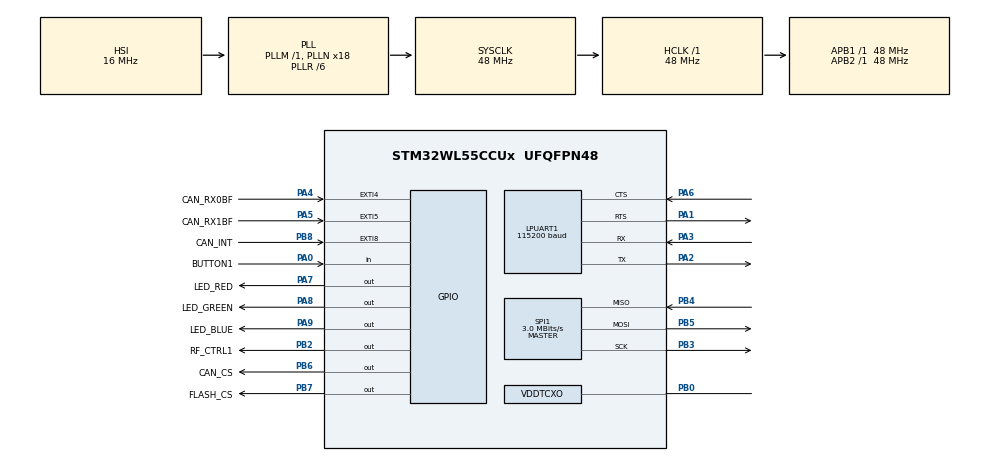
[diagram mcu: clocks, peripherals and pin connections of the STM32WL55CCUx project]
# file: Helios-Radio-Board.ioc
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FREERTOS.Tasks01=defaultTask,24,128,StartDefaultTask,Default,NULL,Dynamic,NULL,NULL
FREERTOS.configTOTAL_HEAP_SIZE=20480
FREERTOS.configUSE_NEWLIB_REENTRANT=1
LPUART1.BaudRate=115200
LPUART1.ClockPrescaler=UART_PRESCALER_DIV4
Mcu.Family=STM32WL
Mcu.Name=STM32WL55CCUx
Mcu.Package=UFQFPN48
NVIC.EXTI4_IRQn=true\:5\:0\:false\:false\:true\:true\:true\:true\:true
NVIC.EXTI9_5_IRQn=true\:5\:0\:false\:false\:true\:true\:true\:true\:true
NVIC.LPUART1_IRQn=true\:5\:0\:false\:false\:true\:true\:true\:true\:true
NVIC.PriorityGroup=NVIC_PRIORITYGROUP_4
NVIC.SUBGHZ_Radio_IRQn=true\:5\:0\:false\:false\:true\:true\:true\:true\:true
NVIC.TIM2_IRQn=true\:15\:0\:false\:false\:true\:false\:false\:true\:true
NVIC.TimeBase=TIM2_IRQn
NVIC.TimeBaseIP=TIM2
OSC_IN.Mode=HSE-TCXO
OSC_IN.Signal=RCC_OSC_IN
PA0.GPIO_Label=BUTTON1
PA0.GPIO_PuPd=GPIO_NOPULL
PA0.Signal=GPIO_Input
PA1.Mode=CTS_RTS
PA1.Signal=LPUART1_RTS
PA13.Mode=Serial_Wire
PA13.Signal=DEBUG_JTMS-SWDIO
PA14.Mode=Serial_Wire
PA14.Signal=DEBUG_JTCK-SWCLK
PA2.Mode=Asynchronous
PA2.Signal=LPUART1_TX
PA3.Mode=Asynchronous
PA3.Signal=LPUART1_RX
PA4.GPIO_Label=CAN_RX0BF
PA4.GPIO_ModeDefaultEXTI=GPIO_MODE_IT_FALLING
PA4.Signal=GPXTI4
PA5.GPIO_Label=CAN_RX1BF
PA5.GPIO_ModeDefaultEXTI=GPIO_MODE_IT_FALLING
PA5.Signal=GPXTI5
PA6.Mode=CTS_RTS
PA6.Signal=LPUART1_CTS
PA7.GPIO_Label=LED_RED
PA7.Signal=GPIO_Output
PA8.GPIO_Label=LED_GREEN
PA8.Signal=GPIO_Output
PA9.GPIO_Label=LED_BLUE
PA9.Signal=GPIO_Output
PB0-VDD_TCXO.Mode=HSE-TCXO
PB0-VDD_TCXO.Signal=VDDTCXO
PB2.GPIO_Label=RF_CTRL1
PB2.Signal=GPIO_Output
PB3.Mode=Full_Duplex_Master
PB3.Signal=SPI1_SCK
PB4.Mode=Full_Duplex_Master
PB4.Signal=SPI1_MISO
PB5.Mode=Full_Duplex_Master
PB5.Signal=SPI1_MOSI
PB6.GPIO_Label=CAN_CS
PB6.PinState=GPIO_PIN_SET
PB6.Signal=GPIO_Output
PB7.GPIO_Label=FLASH_CS
PB7.PinState=GPIO_PIN_SET
PB7.Signal=GPIO_Output
PB8.GPIO_Label=CAN_INT
PB8.GPIO_ModeDefaultEXTI=GPIO_MODE_IT_FALLING
PB8.Signal=GPXTI8
ProjectManager.HeapSize=0x200
ProjectManager.StackSize=0x400
ProjectManager.TargetToolchain=STM32CubeIDE
RCC.AHBFreq_Value=48000000
RCC.APB1Freq_Value=48000000
RCC.APB1TimFreq_Value=48000000
RCC.APB2Freq_Value=48000000
RCC.APB2TimFreq_Value=48000000
RCC.APB3Freq_Value=48000000
RCC.CortexFreq_Value=48000000
RCC.HCLKFreq_Value=48000000
RCC.HSE_VALUE=32000000
RCC.HSI_VALUE=16000000
RCC.LSE_VALUE=32768
RCC.PLLN=18
RCC.PLLR=RCC_PLLR_DIV6
RCC.PLLSourceVirtual=RCC_PLLSOURCE_HSI
RCC.SYSCLKFreq_VALUE=48000000
RCC.SYSCLKSource=RCC_SYSCLKSOURCE_PLLCLK
RCC.VCOOutputFreq_Value=288000000
SPI1.BaudRatePrescaler=SPI_BAUDRATEPRESCALER_16
SPI1.CLKPhase=SPI_PHASE_2EDGE
SPI1.CLKPolarity=SPI_POLARITY_HIGH
SPI1.CalculateBaudRate=3.0 MBits/s
SPI1.DataSize=SPI_DATASIZE_8BIT
SPI1.Direction=SPI_DIRECTION_2LINES
SPI1.Mode=SPI_MODE_MASTER
SPI1.VirtualType=VM_MASTER
SUBGHZ.BaudratePrescaler=SUBGHZSPI_BAUDRATEPRESCALER_4
VP_FREERTOS_VS_CMSIS_V2.Mode=CMSIS_V2
VP_SUBGHZ_VS_SUBGHZ.Mode=SUBGHZ_Activate
VP_SYS_VS_tim2.Mode=TIM2
board=custom

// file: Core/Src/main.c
/* USER CODE BEGIN Header */
/**
  ******************************************************************************
  * @file           : main.c
  * @brief          : Main program body
  ******************************************************************************
  * @attention
  *
  * Copyright (c) 2023 STMicroelectronics.
  * All rights reserved.
  *
  * This software is licensed under terms that can be found in the LICENSE file
  * in the root directory of this software component.
  * If no LICENSE file comes with this software, it is provided AS-IS.
  *
  ******************************************************************************
  */
/* USER CODE END Header */
#include "main.h"
#include "cmsis_os.h"

/* USER CODE BEGIN Includes */
#include "CAN.h"
#include "radio_drivers.h"
#include "system_defines.h"
#include "uartRxTask.h"
#include "uartTxTask.h"
#include "debugTask.h"

#include "CANRxInterruptTask.h"
#include "CANTxGatekeeperTask.h"
#include "queueMessageTask.h"

#include "TelemetryReporting.h"

#include "CanParser.h"
/* USER CODE END Includes */

/* USER CODE BEGIN PD */
#define CAN_INTERRUPT_QUEUE_COUNT 5 // anticipate 2 sudden messages + 1 for extra room
/* USER CODE END PD */

UART_HandleTypeDef hlpuart1;

SPI_HandleTypeDef hspi1;

SUBGHZ_HandleTypeDef hsubghz;

/* Definitions for defaultTask */
osThreadId_t defaultTaskHandle;
const osThreadAttr_t defaultTask_attributes = {
  .name = "defaultTask",
  .priority = (osPriority_t) osPriorityNormal,
  .stack_size = 128 * 4
};
/* USER CODE BEGIN PV */
/* Definitions for RadioTask */
osThreadId_t radioTaskHandle;
const osThreadAttr_t radioTask_attributes = {
  .name = "RadioTask",
  .priority = (osPriority_t) osPriorityHigh,
  .stack_size = DEFAULT_TASK_STACK_SIZE
};

/* Definitions for ToggleTask */
osThreadId_t toggleTaskHandle;
const osThreadAttr_t toggleTask_attributes = {
  .name = "ToggleTask",
  .priority = (osPriority_t) osPriorityNormal,
  .stack_size = DEFAULT_TASK_STACK_SIZE
};

/* Definitions for uartRxTask */
osThreadId_t uartRxTaskHandle;
const osThreadAttr_t uartRxTask_attributes = {
  .name = "uartRxTask",
  .priority = (osPriority_t) osPriorityNormal,
  .stack_size = DEFAULT_TASK_STACK_SIZE
};

/* Definitions for uartTxTask */
osThreadId_t uartTxTaskHandle;
const osThreadAttr_t uartTxTask_attributes = {
  .name = "uartTxTask",
  .priority = (osPriority_t) osPriorityNormal,
  .stack_size = DEFAULT_TASK_STACK_SIZE
};

/* Definitions for debugTask */
osThreadId_t debugTaskHandle;
const osThreadAttr_t debugTask_attributes = {
  .name = "debugTask",
  .priority = (osPriority_t) osPriorityNormal,
  .stack_size = DEFAULT_TASK_STACK_SIZE
};

/* Definitions for SPIMutex */
osMutexId_t SPIMutexHandle;
const osMutexAttr_t SPIMutex_attributes = {
  .name = "SPIMutex"
};

/* Definitions for VA_LIST mutex */
osMutexId_t vaListMutexHandle;
const osMutexAttr_t vaListMutex_attributes = {
  .name = "vaListMutexHandle"
};

osMutexId_t CANTxGateKeeperTaskHandle;
const osThreadAttr_t CANTxGateKeeperTask_attributes = {
  .name = "CANTxGateKeeperTask",
  .priority = (osPriority) osPriorityNormal1,
  .stack_size = DEFAULT_TASK_STACK_SIZE
};

/* Definitions for CANRXInterruptTask */
osThreadId_t CANRXInterruptTaskHandle;
const osThreadAttr_t CANRXInterruptTask_attributes = {
  .name = "CANRXInterruptTask",
  .priority = (osPriority_t) osPriorityHigh,
  .stack_size = DEFAULT_TASK_STACK_SIZE
};

osThreadId_t queueMessageTask1Handle;
const osThreadAttr_t queueMessageTask1_attributes = {
  .name = "queueMessageTask1",
  .priority = (osPriority_t) osPriorityNormal,
  .stack_size = DEFAULT_TASK_STACK_SIZE
};

osThreadId_t queueMessageTask2Handle;
const osThreadAttr_t queueMessageTask2_attributes = {
  .name = "queueMessageTask2",
  .priority = (osPriority_t) osPriorityNormal,
  .stack_size = DEFAULT_TASK_STACK_SIZE
};

osThreadId_t sendTelemetryTaskHandle;
const osThreadAttr_t sendTelemetryTask_attributes = {
  .name = "sendTelemetryTask",
  .priority = (osPriority_t) osPriorityNormal,
  .stack_size = DEFAULT_TASK_STACK_SIZE
};

osThreadId_t parseCanTaskHandle;
const osThreadAttr_t parseCanTask_attributes = {
  .name = "parseCanTask",
  .priority = (osPriority_t) osPriorityNormal,
  .stack_size = DEFAULT_TASK_STACK_SIZE
};

osMessageQueueId_t CANInterruptQueue;
osMessageQueueId_t CANTxMessageQueue;

osMessageQueueId_t radioCommandQueue;
osMessageQueueId_t uartTxQueue;
osMessageQueueId_t uartRxQueue;
osMessageQueueId_t radioDataQueue;
osMessageQueueId_t debugTaskQueue;
osMessageQueueId_t toggleCommandQueue;

#if RX
osMessageQueueId_t RadioReceiveInterruptQueue;
#endif

osMessageQueueId_t canRxQueue;

#if 0
/* Semaphore for something */
osSemaphoreId_t radioSemaphoreHandle;
const osSemaphoreAttr_t radioSemaphore_attributes = {
  .name = "radioSemaphoreHandle"
};
#endif
/* USER CODE END PV */

void SystemClock_Config(void);
static void MX_GPIO_Init(void);
static void MX_LPUART1_UART_Init(void);
static void MX_SPI1_Init(void);
static void MX_SUBGHZ_Init(void);
void StartDefaultTask(void *argument);

/* USER CODE BEGIN PFP */
void ToggleTask(void *argument);
/* USER CODE END PFP */

int main(void)
{

  /* MCU Configuration--------------------------------------------------------*/

  /* Reset of all peripherals, Initializes the Flash interface and the Systick. */
  HAL_Init();

  /* Configure the system clock */
  SystemClock_Config();

  /* Initialize all configured peripherals */
  MX_GPIO_Init();
  MX_LPUART1_UART_Init();
  MX_SPI1_Init();
  MX_SUBGHZ_Init();
  /* USER CODE BEGIN 2 */
  //RadioInit();
  ConfigureCANSPI();
  HAL_GPIO_TogglePin(LED_RED_GPIO_Port, LED_RED_Pin);
  /* USER CODE END 2 */

  /* Init scheduler */
  osKernelInitialize();

  /* USER CODE BEGIN RTOS_MUTEX */
  SPIMutexHandle = osMutexNew(&SPIMutex_attributes); //unused
  vaListMutexHandle = osMutexNew(&vaListMutex_attributes);
  /* USER CODE END RTOS_MUTEX */

  /* USER CODE BEGIN RTOS_QUEUES */
  CANInterruptQueue = osMessageQueueNew(CAN_INTERRUPT_QUEUE_COUNT, sizeof(uint16_t), NULL);
  CANTxMessageQueue = osMessageQueueNew(8, sizeof(CANMsg), NULL);

  radioDataQueue = osMessageQueueNew(RADIO_DATA_QUEUE_COUNT, sizeof(RadioData), NULL);
  radioCommandQueue = osMessageQueueNew(UART_RX_DATA_QUEUE_COUNT, sizeof(RadioCommand), NULL);
  uartTxQueue = osMessageQueueNew(UART_TX_DATA_QUEUE_COUNT, sizeof(UartTxData), NULL);
  uartRxQueue = osMessageQueueNew(UART_RX_DATA_QUEUE_COUNT, sizeof(uint8_t), NULL);
  debugTaskQueue = osMessageQueueNew(DEBUG_QUEUE_COUNT, UART_RX_BUFFER_SIZE, NULL);
  toggleCommandQueue = osMessageQueueNew(TOGGLE_QUEUE_COUNT, sizeof(uint8_t), NULL);
#if RX
  RadioReceiveInterruptQueue = osMessageQueueNew(RADIO_RECEIVE_INTERRUPT_QUEUE_COUNT, sizeof(uint8_t), NULL);
#endif

  canRxQueue = osMessageQueueNew(RADIO_RECEIVE_INTERRUPT_QUEUE_COUNT, sizeof(CanMsg), NULL);
  /* USER CODE END RTOS_QUEUES */

  /* Create the thread(s) */
  /* creation of defaultTask */
  defaultTaskHandle = osThreadNew(StartDefaultTask, NULL, &defaultTask_attributes);

  /* USER CODE BEGIN RTOS_THREADS */

  /* creation of radioTask */
  // radioTaskHandle = osThreadNew(RadioTask, NULL, &radioTask_attributes);

  /* creation of toggleTask */
  // toggleTaskHandle = osThreadNew(ToggleTask, NULL, &toggleTask_attributes);

  /* creation of uartRxTask*/
  // uartRxTaskHandle = osThreadNew(UartRxTask, NULL, &uartRxTask_attributes);

  /* creation of uartTxTask*/
  // uartTxTaskHandle = osThreadNew(UartTxTask, NULL, &uartTxTask_attributes);

  /* creation of debugTask*/
  // debugTaskHandle = osThreadNew(DebugTask, NULL, &debugTask_attributes);

  sendTelemetryTaskHandle = osThreadNew(sendTelemetryTask, NULL, &sendTelemetryTask_attributes);

  CANRXInterruptTaskHandle = osThreadNew(CANRxInterruptTask, NULL, &CANRXInterruptTask_attributes);

  /* creation of CANTxGatekeeperTask*/
  CANTxGateKeeperTaskHandle = osThreadNew(CANTxGatekeeperTask, NULL, &CANTxGateKeeperTask_attributes);

  /* creation of queue CAN message tasks */
  //queueMessageTask1Handle = osThreadNew(queueMessageTask1, NULL, &queueMessageTask1_attributes);
  //queueMessageTask2Handle = osThreadNew(queueMessageTask2, NULL, &queueMessageTask2_attributes);

  parseCanTaskHandle = osThreadNew(parseCanTask, NULL, &parseCanTask_attributes);

  /* USER CODE END RTOS_THREADS */

  /* Start scheduler */
  osKernelStart();

  /* We should never get here as control is now taken by the scheduler */

  /* Infinite loop */
  while (1)
  {

  }
}

void SystemClock_Config(void)
{
  RCC_OscInitTypeDef RCC_OscInitStruct = {0};
  RCC_ClkInitTypeDef RCC_ClkInitStruct = {0};

  /** Configure the main internal regulator output voltage
  */
  __HAL_PWR_VOLTAGESCALING_CONFIG(PWR_REGULATOR_VOLTAGE_SCALE1);

  /** Initializes the CPU, AHB and APB buses clocks
  */
  RCC_OscInitStruct.OscillatorType = RCC_OSCILLATORTYPE_HSI;
  RCC_OscInitStruct.HSIState = RCC_HSI_ON;
  RCC_OscInitStruct.HSICalibrationValue = RCC_HSICALIBRATION_DEFAULT;
  RCC_OscInitStruct.PLL.PLLState = RCC_PLL_ON;
  RCC_OscInitStruct.PLL.PLLSource = RCC_PLLSOURCE_HSI;
  RCC_OscInitStruct.PLL.PLLM = RCC_PLLM_DIV1;
  RCC_OscInitStruct.PLL.PLLN = 18;
  RCC_OscInitStruct.PLL.PLLP = RCC_PLLP_DIV2;
  RCC_OscInitStruct.PLL.PLLR = RCC_PLLR_DIV6;
  RCC_OscInitStruct.PLL.PLLQ = RCC_PLLQ_DIV2;
  if (HAL_RCC_OscConfig(&RCC_OscInitStruct) != HAL_OK)
  {
    Error_Handler();
  }

  /** Configure the SYSCLKSource, HCLK, PCLK1 and PCLK2 clocks dividers
  */
  RCC_ClkInitStruct.ClockType = RCC_CLOCKTYPE_HCLK3|RCC_CLOCKTYPE_HCLK
                              |RCC_CLOCKTYPE_SYSCLK|RCC_CLOCKTYPE_PCLK1
                              |RCC_CLOCKTYPE_PCLK2;
  RCC_ClkInitStruct.SYSCLKSource = RCC_SYSCLKSOURCE_PLLCLK;
  RCC_ClkInitStruct.AHBCLKDivider = RCC_SYSCLK_DIV1;
  RCC_ClkInitStruct.APB1CLKDivider = RCC_HCLK_DIV1;
  RCC_ClkInitStruct.APB2CLKDivider = RCC_HCLK_DIV1;
  RCC_ClkInitStruct.AHBCLK3Divider = RCC_SYSCLK_DIV1;

  if (HAL_RCC_ClockConfig(&RCC_ClkInitStruct, FLASH_LATENCY_2) != HAL_OK)
  {
    Error_Handler();
  }
}

static void MX_LPUART1_UART_Init(void)
{

  hlpuart1.Instance = LPUART1;
  hlpuart1.Init.BaudRate = 115200;
  hlpuart1.Init.WordLength = UART_WORDLENGTH_8B;
  hlpuart1.Init.StopBits = UART_STOPBITS_1;
  hlpuart1.Init.Parity = UART_PARITY_NONE;
  hlpuart1.Init.Mode = UART_MODE_TX_RX;
  hlpuart1.Init.HwFlowCtl = UART_HWCONTROL_RTS_CTS;
  hlpuart1.Init.OneBitSampling = UART_ONE_BIT_SAMPLE_DISABLE;
  hlpuart1.Init.ClockPrescaler = UART_PRESCALER_DIV4;
  hlpuart1.AdvancedInit.AdvFeatureInit = UART_ADVFEATURE_NO_INIT;
  hlpuart1.FifoMode = UART_FIFOMODE_DISABLE;
  if (HAL_UART_Init(&hlpuart1) != HAL_OK)
  {
    Error_Handler();
  }
  if (HAL_UARTEx_SetTxFifoThreshold(&hlpuart1, UART_TXFIFO_THRESHOLD_1_8) != HAL_OK)
  {
    Error_Handler();
  }
  if (HAL_UARTEx_SetRxFifoThreshold(&hlpuart1, UART_RXFIFO_THRESHOLD_1_8) != HAL_OK)
  {
    Error_Handler();
  }
  if (HAL_UARTEx_DisableFifoMode(&hlpuart1) != HAL_OK)
  {
    Error_Handler();
  }

}

static void MX_SPI1_Init(void)
{

  /* SPI1 parameter configuration*/
  hspi1.Instance = SPI1;
  hspi1.Init.Mode = SPI_MODE_MASTER;
  hspi1.Init.Direction = SPI_DIRECTION_2LINES;
  hspi1.Init.DataSize = SPI_DATASIZE_8BIT;
  hspi1.Init.CLKPolarity = SPI_POLARITY_HIGH;
  hspi1.Init.CLKPhase = SPI_PHASE_2EDGE;
  hspi1.Init.NSS = SPI_NSS_SOFT;
  hspi1.Init.BaudRatePrescaler = SPI_BAUDRATEPRESCALER_16;
  hspi1.Init.FirstBit = SPI_FIRSTBIT_MSB;
  hspi1.Init.TIMode = SPI_TIMODE_DISABLE;
  hspi1.Init.CRCCalculation = SPI_CRCCALCULATION_DISABLE;
  hspi1.Init.CRCPolynomial = 7;
  hspi1.Init.CRCLength = SPI_CRC_LENGTH_DATASIZE;
  hspi1.Init.NSSPMode = SPI_NSS_PULSE_DISABLE;
  if (HAL_SPI_Init(&hspi1) != HAL_OK)
  {
    Error_Handler();
  }

}

static void MX_SUBGHZ_Init(void)
{

  /* USER CODE BEGIN SUBGHZ_Init 1 */
  //CLK = 32MHz, and acoridng to SUBGHZ module datasheet max SPI CLK = 16MHz, using 8MHz to be safe
  /* USER CODE END SUBGHZ_Init 1 */
  hsubghz.Init.BaudratePrescaler = SUBGHZSPI_BAUDRATEPRESCALER_4;
  if (HAL_SUBGHZ_Init(&hsubghz) != HAL_OK)
  {
    Error_Handler();
  }

}

static void MX_GPIO_Init(void)
{
  GPIO_InitTypeDef GPIO_InitStruct = {0};

  /* GPIO Ports Clock Enable */
  __HAL_RCC_GPIOB_CLK_ENABLE();
  __HAL_RCC_GPIOA_CLK_ENABLE();

  /*Configure GPIO pin Output Level */
  HAL_GPIO_WritePin(GPIOB, CAN_CS_Pin|FLASH_CS_Pin, GPIO_PIN_SET);

  /*Configure GPIO pin Output Level */
  HAL_GPIO_WritePin(GPIOA, LED_RED_Pin|LED_GREEN_Pin|LED_BLUE_Pin, GPIO_PIN_RESET);

  /*Configure GPIO pin Output Level */
  HAL_GPIO_WritePin(RF_CTRL1_GPIO_Port, RF_CTRL1_Pin, GPIO_PIN_RESET);

  /*Configure GPIO pins : CAN_CS_Pin FLASH_CS_Pin RF_CTRL1_Pin */
  GPIO_InitStruct.Pin = CAN_CS_Pin|FLASH_CS_Pin|RF_CTRL1_Pin;
  GPIO_InitStruct.Mode = GPIO_MODE_OUTPUT_PP;
  GPIO_InitStruct.Pull = GPIO_NOPULL;
  GPIO_InitStruct.Speed = GPIO_SPEED_FREQ_LOW;
  HAL_GPIO_Init(GPIOB, &GPIO_InitStruct);

  /*Configure GPIO pin : CAN_INT_Pin */
  GPIO_InitStruct.Pin = CAN_INT_Pin;
  GPIO_InitStruct.Mode = GPIO_MODE_IT_FALLING;
  GPIO_InitStruct.Pull = GPIO_NOPULL;
  HAL_GPIO_Init(CAN_INT_GPIO_Port, &GPIO_InitStruct);

  /*Configure GPIO pin : BUTTON1_Pin */
  GPIO_InitStruct.Pin = BUTTON1_Pin;
  GPIO_InitStruct.Mode = GPIO_MODE_INPUT;
  GPIO_InitStruct.Pull = GPIO_NOPULL;
  HAL_GPIO_Init(BUTTON1_GPIO_Port, &GPIO_InitStruct);

  /*Configure GPIO pins : CAN_RX0BF_Pin CAN_RX1BF_Pin */
  GPIO_InitStruct.Pin = CAN_RX0BF_Pin|CAN_RX1BF_Pin;
  GPIO_InitStruct.Mode = GPIO_MODE_IT_FALLING;
  GPIO_InitStruct.Pull = GPIO_NOPULL;
  HAL_GPIO_Init(GPIOA, &GPIO_InitStruct);

  /*Configure GPIO pins : LED_RED_Pin LED_GREEN_Pin LED_BLUE_Pin */
  GPIO_InitStruct.Pin = LED_RED_Pin|LED_GREEN_Pin|LED_BLUE_Pin;
  GPIO_InitStruct.Mode = GPIO_MODE_OUTPUT_PP;
  GPIO_InitStruct.Pull = GPIO_NOPULL;
  GPIO_InitStruct.Speed = GPIO_SPEED_FREQ_LOW;
  HAL_GPIO_Init(GPIOA, &GPIO_InitStruct);

  /* EXTI interrupt init*/
  HAL_NVIC_SetPriority(EXTI4_IRQn, 5, 0);
  HAL_NVIC_EnableIRQ(EXTI4_IRQn);

  HAL_NVIC_SetPriority(EXTI9_5_IRQn, 5, 0);
  HAL_NVIC_EnableIRQ(EXTI9_5_IRQn);

}

/* USER CODE BEGIN 4 */
/**
  * @brief  Function implementing the toggleTask thread.
  * @param  argument: Not used
  * @retval None
  */
void ToggleTask(void *argument)
{
  /* USER CODE BEGIN 5 */
#if TX
	RadioCommand radioCommand = {0};
  uint8_t sendBlink = SOLAR_FALSE;
	uint16_t ID = 1;
#elif RX
  RadioData radioData = {0};
#endif
  /* Infinite loop */
  for(;;)
  {
#if TX
    radioCommand.size = 3;
    radioCommand.command = TRANSMIT;
    radioCommand.data = solarMalloc(3);
    memcpy(radioCommand.data, &ID, 2);
    if(HAL_GPIO_ReadPin(BUTTON1_GPIO_Port, BUTTON1_Pin)) {
        radioCommand.data[3] = 1;
    } else {
        radioCommand.data[3] = 0;
    }

    if(sendBlink){
      osStatus_t ret = osMessageQueuePut(radioCommandQueue, &radioCommand, 0, 1000);
      if(ret != osOK) {
        solarFree(radioCommand.data);
      } else {
        ID++;
      }
    }

    osMessageQueueGet(toggleCommandQueue, &sendBlink, 0, 0);
    osDelay(100);
#elif RX
    osMessageQueueGet(radioDataQueue, &radioData, NULL, osWaitForever);
    solarPrint("ID: %d", radioData.ID);
    if(radioData.data[0] == 1) {
        HAL_GPIO_WritePin(LED_BLUE_GPIO_Port, LED_BLUE_Pin, GPIO_PIN_SET);
    } else {
        HAL_GPIO_WritePin(LED_BLUE_GPIO_Port, LED_BLUE_Pin, GPIO_PIN_RESET);
    }
#endif
  }
  /* USER CODE END 5 */
}

void HAL_GPIO_EXTI_Callback(uint16_t GPIO_Pin)
{
	if ((GPIO_Pin == CAN_RX0BF_Pin) || (GPIO_Pin == CAN_RX1BF_Pin)) {
		osMessageQueuePut(CANInterruptQueue, &GPIO_Pin, 0, 0);
		//canReceive = 1;
	}
}

/* USER CODE END 4 */

void StartDefaultTask(void *argument)
{
  /* USER CODE BEGIN 5 */
#if TX
	RadioCommand radioCommand = {0};
  uint8_t sendBlink = SOLAR_FALSE;
	uint16_t ID = 1;
#elif RX
  RadioData radioData = {0};
#endif
  /* Infinite loop */
  for(;;)
  {
#if TX
    radioCommand.size = 3;
    radioCommand.command = TRANSMIT;
    radioCommand.data = solarMalloc(3);
    memcpy(radioCommand.data, &ID, 2);
    if(HAL_GPIO_ReadPin(BUTTON1_GPIO_Port, BUTTON1_Pin)) {
        radioCommand.data[3] = 1;
    } else {
        radioCommand.data[3] = 0;
    }

    if(sendBlink){
      osStatus_t ret = osMessageQueuePut(radioCommandQueue, &radioCommand, 0, 1000);
      if(ret != osOK) {
        solarFree(radioCommand.data);
      } else {
        ID++;
      }
    }

    osMessageQueueGet(toggleCommandQueue, &sendBlink, 0, 0);
    osDelay(100);
#elif RX
    osMessageQueueGet(radioDataQueue, &radioData, NULL, osWaitForever);
    solarPrint("ID: %d", radioData.ID);
    if(radioData.data[0] == 1) {
        HAL_GPIO_WritePin(LED_BLUE_GPIO_Port, LED_BLUE_Pin, GPIO_PIN_SET);
    } else {
        HAL_GPIO_WritePin(LED_BLUE_GPIO_Port, LED_BLUE_Pin, GPIO_PIN_RESET);
    }
#endif
  }
  /* USER CODE END 5 */
}

void HAL_TIM_PeriodElapsedCallback(TIM_HandleTypeDef *htim)
{
  if (htim->Instance == TIM2) {
    HAL_IncTick();
  }
}

void Error_Handler(void)
{
  __disable_irq();
  while (1)
  {
  }
}
